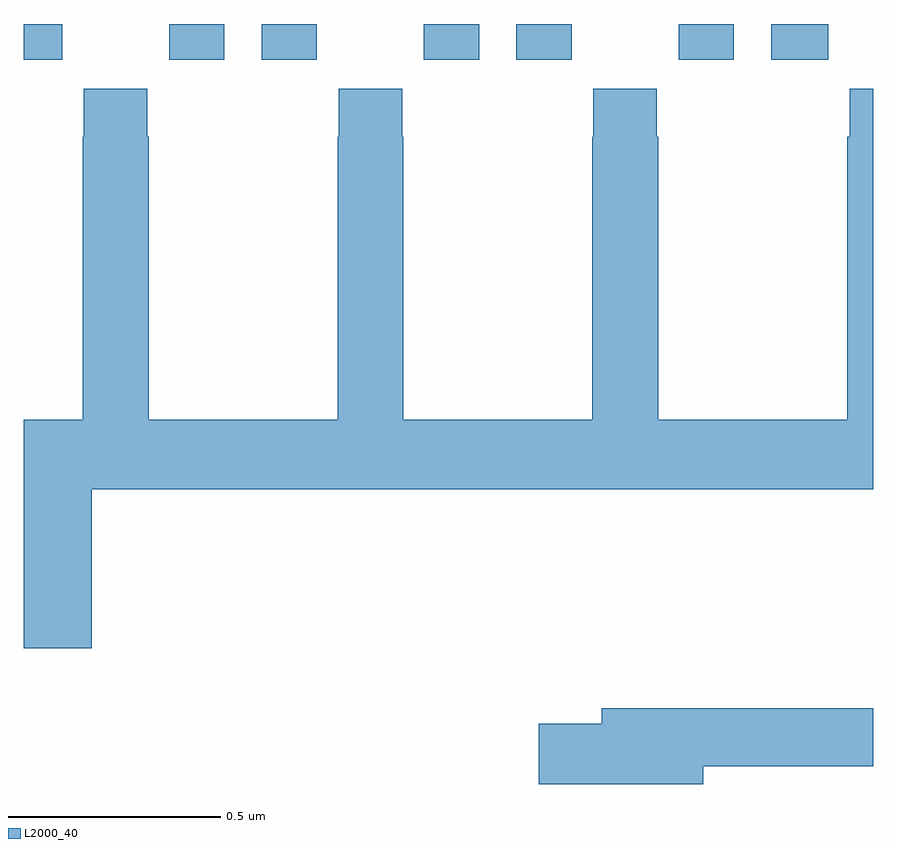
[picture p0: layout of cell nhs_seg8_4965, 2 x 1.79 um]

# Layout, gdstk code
import gdstk
lib = gdstk.Library(unit=1e-6, precision=1e-09)
def R(c, l, rs):  # rectangles x0, y0, x1, y1
    for r in rs: c.add(gdstk.rectangle(r[:2], r[2:], *l))
def P(c, l, *ps):  # polygons
    for p in ps: c.add(gdstk.Polygon(p, *l))
L2000_40 = (2000, 40)

nhs_seg8_4965 = lib.new_cell('nhs_seg8_4965')
R(nhs_seg8_4965, L2000_40, [(177,1146.816,177.09,1146.9), (177.342,1146.816,177.472,1146.9), (177.56,1146.816,177.69,1146.9), (177.942,1146.816,178.072,1146.9), (178.16,1146.816,178.29,1146.9), (178.542,1146.816,178.672,1146.9), (178.76,1146.816,178.894,1146.9)])
P(nhs_seg8_4965, L2000_40, [(179,1146.748),(178.945,1146.748),(178.945,1146.635),(178.939,1146.635),(178.939,1145.968),(178.494,1145.968),(178.494,1146.635),(178.491,1146.635),(178.491,1146.748),(178.341,1146.748),(178.341,1146.635),(178.339,1146.635),(178.339,1145.968),(177.894,1145.968),(177.894,1146.635),(177.891,1146.635),(177.891,1146.748),(177.741,1146.748),(177.741,1146.635),(177.739,1146.635),(177.739,1145.968),(177.294,1145.968),(177.294,1146.635),(177.291,1146.635),(177.291,1146.748),(177.141,1146.748),(177.141,1146.635),(177.139,1146.635),(177.139,1145.968),(177,1145.968),(177,1145.43),(177.16,1145.43),(177.16,1145.804),(179,1145.804)],
  [(178.6,1145.152),(179,1145.152),(179,1145.288),(178.361,1145.288),(178.361,1145.252),(178.212,1145.252),(178.212,1145.11),(178.6,1145.11)])

lib.write_gds('nhs_seg8_4965.gds')
